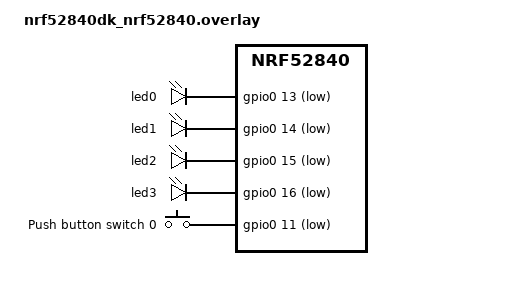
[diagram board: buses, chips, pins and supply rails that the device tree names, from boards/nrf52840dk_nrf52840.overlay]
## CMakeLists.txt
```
cmake_minimum_required(VERSION 3.20.0)
find_package(Zephyr REQUIRED HINTS $ENV{ZEPHYR_BASE})

project(state_demo)

target_sources(app PRIVATE src/main.c)
```

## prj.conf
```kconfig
CONFIG_LOG=y
CONFIG_SHELL=y

# Needed for boards that enable RTT backends for logging
# e.g. nrf52840dk/nrf52840 and any others that enable it
CONFIG_LOG_BACKEND_RTT=y

# Enable the state machine framework
CONFIG_SMF=y
CONFIG_SMF_ANCESTOR_SUPPORT=y
CONFIG_SMF_INITIAL_TRANSITION=y

# Enable kernel events for event-driven state machine
CONFIG_EVENTS=y
```

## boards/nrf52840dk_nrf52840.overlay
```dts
/ {
	aliases {
		led0 = &led0;
		led1 = &led1;
		led2 = &led2;
		led3 = &led3;
		sw0 = &button0;
	};

	leds {
		compatible = "gpio-leds";
		led0: led_0 {
			gpios = <&gpio0 13 GPIO_ACTIVE_LOW>;
		};
		led1: led_1 {
			gpios = <&gpio0 14 GPIO_ACTIVE_LOW>;
		};
		led2: led_2 {
			gpios = <&gpio0 15 GPIO_ACTIVE_LOW>;
		};
		led3: led_3 {
			gpios = <&gpio0 16 GPIO_ACTIVE_LOW>;
		};
	};

	buttons {
		compatible = "gpio-keys";
		button0: button_0 {
			gpios = <&gpio0 11 (GPIO_PULL_UP | GPIO_ACTIVE_LOW)>;
			label = "Push button switch 0";
		};
	};
};
```

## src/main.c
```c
#include <zephyr/kernel.h>
#include <zephyr/smf.h>
#include <zephyr/device.h>
#include <zephyr/drivers/gpio.h>
#include <zephyr/devicetree.h>

// LED device tree specifications 
#if DT_NODE_HAS_STATUS(DT_ALIAS(led0), okay)
static const struct gpio_dt_spec led0 = GPIO_DT_SPEC_GET(DT_ALIAS(led0), gpios);
#else
#error "LED0 device tree alias is not defined or not okay"
#endif

#if DT_NODE_HAS_STATUS(DT_ALIAS(led1), okay)
static const struct gpio_dt_spec led1 = GPIO_DT_SPEC_GET(DT_ALIAS(led1), gpios);
#else
#error "LED1 device tree alias is not defined or not okay"
#endif

#if DT_NODE_HAS_STATUS(DT_ALIAS(led2), okay)
static const struct gpio_dt_spec led2 = GPIO_DT_SPEC_GET(DT_ALIAS(led2), gpios);
#else
#error "LED2 device tree alias is not defined or not okay"
#endif

#if DT_NODE_HAS_STATUS(DT_ALIAS(led3), okay)
static const struct gpio_dt_spec led3 = GPIO_DT_SPEC_GET(DT_ALIAS(led3), gpios);
#else
#error "LED3 device tree alias is not defined or not okay"
#endif

// Forward declaration of state table 
static const struct smf_state demo_states[];

// User defined object
struct s_object {
        struct smf_ctx ctx;

        struct k_event smf_event;
        int32_t events;
} s_obj;


//Flat State Machine Example
/*

// List of demo states 
enum demo_state { S0, S1, S2, S3 };

// User defined object
struct s_object {
        // This must be first 
        struct smf_ctx ctx;

        // Other state specific data add here 
} s_obj;

// State S0 - LED0 control 
static void s0_entry(void *o)
{
        gpio_pin_set_dt(&led0, 1);
}
static void s0_run(void *o)
{
        smf_set_state(SMF_CTX(&s_obj), &demo_states[S1]);
}
static void s0_exit(void *o)
{
        gpio_pin_set_dt(&led0, 0);
}

// State S1 - LED1 control 
static void s1_entry(void *o)
{
        gpio_pin_set_dt(&led1, 1);
}
static void s1_run(void *o)
{
        smf_set_state(SMF_CTX(&s_obj), &demo_states[S2]);
}
static void s1_exit(void *o)
{
        gpio_pin_set_dt(&led1, 0);
}

// State S2 - LED2 control 
static void s2_entry(void *o)
{
        gpio_pin_set_dt(&led2, 1);
}
static void s2_run(void *o)
{
        smf_set_state(SMF_CTX(&s_obj), &demo_states[S3]);
}
static void s2_exit(void *o)
{
        gpio_pin_set_dt(&led2, 0);
}

// State S3 - All LEDs off, transition back to S0 
static void s3_entry(void *o)
{
        // All LEDs should be off at this point 
}
static void s3_run(void *o)
{
        smf_set_state(SMF_CTX(&s_obj), &demo_states[S0]);
}

// Populate state table 
static const struct smf_state demo_states[] = {
        [S0] = SMF_CREATE_STATE(s0_entry, s0_run, s0_exit, NULL, NULL),
        [S1] = SMF_CREATE_STATE(s1_entry, s1_run, s1_exit, NULL, NULL),
        [S2] = SMF_CREATE_STATE(s2_entry, s2_run, s2_exit, NULL, NULL),
        [S3] = SMF_CREATE_STATE(s3_entry, s3_run, NULL, NULL, NULL),
};

int main(void)
{
        int32_t ret;

        // Initialize LEDs 
        if (!gpio_is_ready_dt(&led0) || !gpio_is_ready_dt(&led1) || !gpio_is_ready_dt(&led2)) {
                return -1;
        }
        
        gpio_pin_configure_dt(&led0, GPIO_OUTPUT_INACTIVE);
        gpio_pin_configure_dt(&led1, GPIO_OUTPUT_INACTIVE);
        gpio_pin_configure_dt(&led2, GPIO_OUTPUT_INACTIVE);

        // Set initial state 
        smf_set_initial(SMF_CTX(&s_obj), &demo_states[S0]);

        // Run the state machine 
        while(1) {
                // State machine terminates if a non-zero value is returned 
                ret = smf_run_state(SMF_CTX(&s_obj));
                if (ret) {
                        // handle return code and terminate state machine 
                        break;
                }
                k_msleep(1000);
        }
}
*/

//Hierarchical State Machine Example

/*

// List of demo states 
enum demo_state { PARENT, S0, S1, S2 };

// Parent State 
static void parent_entry(void *o)
{
        gpio_pin_set_dt(&led0, 1);
        gpio_pin_set_dt(&led1, 1);
        gpio_pin_set_dt(&led2, 1);
        gpio_pin_set_dt(&led3, 1);
}
static void parent_exit(void *o)
{
        gpio_pin_set_dt(&led0, 0);
        gpio_pin_set_dt(&led1, 0);
        gpio_pin_set_dt(&led2, 0);
        gpio_pin_set_dt(&led3, 0);
}

// State S0 
static void s0_run(void *o)
{
        gpio_pin_set_dt(&led0, 1);
        smf_set_state(SMF_CTX(&s_obj), &demo_states[S1]);
}

// State S1 
static void s1_run(void *o)
{
        gpio_pin_set_dt(&led1, 1);
        smf_set_state(SMF_CTX(&s_obj), &demo_states[S2]);
}
// State S2 
static void s2_run(void *o)
{
        gpio_pin_set_dt(&led2, 1);
        smf_set_state(SMF_CTX(&s_obj), &demo_states[S0]);
}
static const struct smf_state demo_states[] = {
        // Parent state does not have a run action 
        [PARENT] = SMF_CREATE_STATE(parent_entry, NULL, parent_exit, NULL, NULL),
        // Child states do not have entry or exit actions 
        [S0] = SMF_CREATE_STATE(NULL, s0_run, NULL, &demo_states[PARENT], NULL),
        [S1] = SMF_CREATE_STATE(NULL, s1_run, NULL, &demo_states[PARENT], NULL),
        // State S2 do not have entry or exit actions and no parent 
        [S2] = SMF_CREATE_STATE(NULL, s2_run, NULL, NULL, NULL),
};

int main(void)
{
        int32_t ret;

        // Initialize LEDs 
        if (!gpio_is_ready_dt(&led0) || !gpio_is_ready_dt(&led1) || 
            !gpio_is_ready_dt(&led2) || !gpio_is_ready_dt(&led3)) {
                return -1;
        }
        
        gpio_pin_configure_dt(&led0, GPIO_OUTPUT_INACTIVE);
        gpio_pin_configure_dt(&led1, GPIO_OUTPUT_INACTIVE);
        gpio_pin_configure_dt(&led2, GPIO_OUTPUT_INACTIVE);
        gpio_pin_configure_dt(&led3, GPIO_OUTPUT_INACTIVE);

        // Set initial state 
        smf_set_initial(SMF_CTX(&s_obj), &demo_states[S0]);

        // Run the state machine 
        while(1) {
                // State machine terminates if a non-zero value is returned 
                ret = smf_run_state(SMF_CTX(&s_obj));
                if (ret) {
                        // handle return code and terminate state machine 
                        break;
                }
                k_msleep(1000);
        }
}
*/

// Event Driven State Machine Example
#define SW0_NODE        DT_ALIAS(sw0)
#define EVENT_BTN_PRESS BIT(0)

static const struct gpio_dt_spec button =GPIO_DT_SPEC_GET_OR(SW0_NODE, gpios, {0});

static struct gpio_callback button_cb_data;


/* List of demo states */
enum demo_state { S0, S1 };


/* State S0 */
static void s0_entry(void *o)
{
        printk("STATE0\n");
}

static void s0_run(void *o)
{
        struct s_object *s = (struct s_object *)o;

        /* Change states on Button Press Event */
        if (s->events & EVENT_BTN_PRESS) {
                smf_set_state(SMF_CTX(&s_obj), &demo_states[S1]);
        }
}

/* State S1 */
static void s1_entry(void *o)
{
        printk("STATE1\n");
}

static void s1_run(void *o)
{
        struct s_object *s = (struct s_object *)o;

        /* Change states on Button Press Event */
        if (s->events & EVENT_BTN_PRESS) {
                smf_set_state(SMF_CTX(&s_obj), &demo_states[S0]);
        }
}

/* Populate state table */
static const struct smf_state demo_states[] = {
        [S0] = SMF_CREATE_STATE(s0_entry, s0_run, NULL, NULL, NULL),
        [S1] = SMF_CREATE_STATE(s1_entry, s1_run, NULL, NULL, NULL),
};

void button_pressed(const struct device *dev,
                struct gpio_callback *cb, uint32_t pins)
{
        /* Generate Button Press Event */
        k_event_post(&s_obj.smf_event, EVENT_BTN_PRESS);
}

int main(void)
{
        int ret;

        if (!gpio_is_ready_dt(&button)) {
                printk("Error: button device %s is not ready\n",
                        button.port->name);
                return 0;
        }

        ret = gpio_pin_configure_dt(&button, GPIO_INPUT);
        if (ret != 0) {
                printk("Error %d: failed to configure %s pin %d\n",
                        ret, button.port->name, button.pin);
                return 0;
        }

        ret = gpio_pin_interrupt_configure_dt(&button,
                GPIO_INT_EDGE_TO_ACTIVE);
        if (ret != 0) {
                printk("Error %d: failed to configure interrupt on %s pin %d\n",
                        ret, button.port->name, button.pin);
                return 0;
        }

        gpio_init_callback(&button_cb_data, button_pressed, BIT(button.pin));
        gpio_add_callback(button.port, &button_cb_data);

        /* Initialize the event */
        k_event_init(&s_obj.smf_event);

        /* Set initial state */
        smf_set_initial(SMF_CTX(&s_obj), &demo_states[S0]);

        /* Run the state machine */
        while(1) {
                /* Block until an event is detected */
                s_obj.events = k_event_wait(&s_obj.smf_event,
                                EVENT_BTN_PRESS, true, K_FOREVER);

                /* State machine terminates if a non-zero value is returned */
                ret = smf_run_state(SMF_CTX(&s_obj));
                if (ret) {
                        /* handle return code and terminate state machine */
                        break;
                }
        }
}
```
